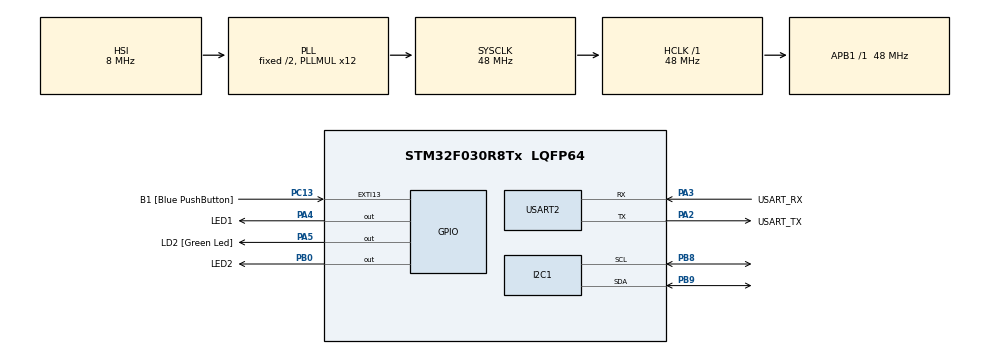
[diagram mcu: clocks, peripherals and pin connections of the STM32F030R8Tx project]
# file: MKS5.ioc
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Dma.Request0=USART2_RX
Dma.USART2_RX.0.Direction=DMA_PERIPH_TO_MEMORY
Dma.USART2_RX.0.Instance=DMA1_Channel5
Dma.USART2_RX.0.MemDataAlignment=DMA_MDATAALIGN_BYTE
Dma.USART2_RX.0.MemInc=DMA_MINC_ENABLE
Dma.USART2_RX.0.Mode=DMA_CIRCULAR
Dma.USART2_RX.0.PeriphDataAlignment=DMA_PDATAALIGN_BYTE
Dma.USART2_RX.0.PeriphInc=DMA_PINC_DISABLE
Dma.USART2_RX.0.Priority=DMA_PRIORITY_LOW
I2C1.Timing=0x00201D2B
Mcu.Family=STM32F0
Mcu.Name=STM32F030R8Tx
Mcu.Package=LQFP64
NVIC.DMA1_Channel4_5_IRQn=true\:0\:0\:false\:false\:true\:false\:true\:true
PA13.GPIO_Label=TMS
PA13.Mode=Serial_Wire
PA13.Signal=SYS_SWDIO
PA14.GPIO_Label=TCK
PA14.Mode=Serial_Wire
PA14.Signal=SYS_SWCLK
PA2.GPIO_Label=USART_TX
PA2.GPIO_Mode=GPIO_MODE_AF_PP
PA2.GPIO_PuPd=GPIO_NOPULL
PA2.GPIO_Speed=GPIO_SPEED_FREQ_LOW
PA2.Mode=Asynchronous
PA2.Signal=USART2_TX
PA3.GPIO_Label=USART_RX
PA3.GPIO_Mode=GPIO_MODE_AF_PP
PA3.GPIO_PuPd=GPIO_NOPULL
PA3.GPIO_Speed=GPIO_SPEED_FREQ_LOW
PA3.Mode=Asynchronous
PA3.Signal=USART2_RX
PA4.GPIO_Label=LED1
PA4.Signal=GPIO_Output
PA5.GPIO_Label=LD2 [Green Led]
PA5.GPIO_Mode=GPIO_MODE_OUTPUT_PP
PA5.GPIO_PuPd=GPIO_NOPULL
PA5.GPIO_Speed=GPIO_SPEED_FREQ_LOW
PA5.Signal=GPIO_Output
PB0.GPIO_Label=LED2
PB0.Signal=GPIO_Output
PB8.Mode=I2C
PB8.Signal=I2C1_SCL
PB9.Mode=I2C
PB9.Signal=I2C1_SDA
PC13.GPIO_Label=B1 [Blue PushButton]
PC13.GPIO_ModeDefaultEXTI=GPIO_MODE_IT_FALLING
PC13.Signal=GPXTI13
PC14-OSC32_IN.Mode=LSE-External-Oscillator
PC14-OSC32_IN.Signal=RCC_OSC32_IN
PC15-OSC32_OUT.Mode=LSE-External-Oscillator
PC15-OSC32_OUT.Signal=RCC_OSC32_OUT
PF0-OSC_IN.Mode=HSE-External-Clock-Source
PF0-OSC_IN.Signal=RCC_OSC_IN
PF1-OSC_OUT.Signal=RCC_OSC_OUT
ProjectManager.HeapSize=0x200
ProjectManager.StackSize=0x400
ProjectManager.TargetToolchain=STM32CubeIDE
RCC.AHBFreq_Value=48000000
RCC.APB1Freq_Value=48000000
RCC.APB1TimFreq_Value=48000000
RCC.HCLKFreq_Value=48000000
RCC.PLLMUL=RCC_PLL_MUL12
RCC.SYSCLKFreq_VALUE=48000000
RCC.SYSCLKSource=RCC_SYSCLKSOURCE_PLLCLK
USART2.VirtualMode-Asynchronous=VM_ASYNC
board=NUCLEO-F030R8

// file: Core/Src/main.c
/* USER CODE BEGIN Header */
/**
  ******************************************************************************
  * @file           : main.c
  * @brief          : Main program body
  ******************************************************************************
  * @attention
  *
  * Copyright (c) 2024 STMicroelectronics.
  * All rights reserved.
  *
  * This software is licensed under terms that can be found in the LICENSE file
  * in the root directory of this software component.
  * If no LICENSE file comes with this software, it is provided AS-IS.
  *
  ******************************************************************************
  */
/* USER CODE END Header */
#include "main.h"

/* USER CODE BEGIN Includes */
#include <stdio.h>
#include <string.h>
#include <stdlib.h>
/* USER CODE END Includes */

I2C_HandleTypeDef hi2c1;

UART_HandleTypeDef huart2;
DMA_HandleTypeDef hdma_usart2_rx;

/* USER CODE BEGIN PV */
#define RX_BUFFER_LEN 64
#define CMD_BUFFER_LEN 128
static uint8_t uart_rx_buf[RX_BUFFER_LEN];
static volatile uint16_t uart_rx_read_ptr = 0;
#define uart_rx_write_ptr (RX_BUFFER_LEN - hdma_usart2_rx.Instance->CNDTR)
#define EEPROM_ADDR 0xA0
/* USER CODE END PV */

void SystemClock_Config(void);
static void MX_GPIO_Init(void);
static void MX_DMA_Init(void);
static void MX_USART2_UART_Init(void);
static void MX_I2C1_Init(void);

/* USER CODE BEGIN 0 */

static void uart_process_command(char *cmd)
{
  // printf("Received command: %s \n", cmd);

  char *token;
  uint16_t addr;
  uint8_t value;
  token = strtok(cmd, " ");

  if (strcasecmp(token, "HELLO") == 0)
  {
    printf("Communication OK\n");
  }
  else if (strcasecmp(token, "LED1") == 0)
  {
    token = strtok(NULL, " ");
    if (strcasecmp(token, "ON") == 0)
    {
      HAL_GPIO_WritePin(LED1_GPIO_Port, LED1_Pin, GPIO_PIN_SET);
    }
    else if (strcasecmp(token, "OFF") == 0)
    {
      HAL_GPIO_WritePin(LED1_GPIO_Port, LED1_Pin, GPIO_PIN_RESET);
    }
    printf("OK\n");
  }
  else if (strcasecmp(token, "LED2") == 0)
  {
    token = strtok(NULL, " ");
    if (strcasecmp(token, "ON") == 0)
    {
      HAL_GPIO_WritePin(LED2_GPIO_Port, LED2_Pin, GPIO_PIN_SET);
    }
    else if (strcasecmp(token, "OFF") == 0)
    {
      HAL_GPIO_WritePin(LED2_GPIO_Port, LED2_Pin, GPIO_PIN_RESET);
    }
    printf("OK\n");
  }
  else if (strcasecmp(token, "STATUS") == 0) // read status of LED1 and LED2
  {
    if (HAL_GPIO_ReadPin(LED1_GPIO_Port, LED1_Pin))
    {
      printf("LED1 ON\n");
    }
    else
      printf("LED1 OFF\n");
    if (HAL_GPIO_ReadPin(LED2_GPIO_Port, LED2_Pin))
    {
      printf("LED2 ON\n");
    }
    else
      printf("LED2 OFF\n");
  }
  else if (strcasecmp(token, "READ") == 0) // read memmory data
  {
    addr = atoi(strtok(NULL, " "));
    HAL_I2C_Mem_Read(&hi2c1, EEPROM_ADDR, addr, I2C_MEMADD_SIZE_16BIT, &value, 1, 1000);
    printf("Address 0x000%x = 0x%x \n", addr, value);
  }
  else if (strcasecmp(token, "WRITE") == 0) // write memmory data
  {
    addr = atoi(strtok(NULL, " "));
    value = atoi(strtok(NULL, " "));
    HAL_I2C_Mem_Write(&hi2c1, EEPROM_ADDR, addr, I2C_MEMADD_SIZE_16BIT, &value, 1, 1000);
    while (HAL_I2C_IsDeviceReady(&hi2c1, EEPROM_ADDR, 300, 1000) != HAL_TIMEOUT)
    {
      if (HAL_I2C_IsDeviceReady(&hi2c1, EEPROM_ADDR, 300, 1000) == HAL_OK)
      {
        break;
      }
    }
    printf("Write done \n");
  }
  else if (strcasecmp(token, "DUMP") == 0) // dump memmory data
  {
    uint8_t dump[16];
    addr = 0;
    HAL_I2C_Mem_Read(&hi2c1, EEPROM_ADDR, addr, I2C_MEMADD_SIZE_16BIT, dump, 16, 1000);
    for (addr = 0; addr < 16; addr++)
    {
      printf("%02x ", dump[addr]);
    }
    printf("\n");
  }
  else if (strcasecmp(token, "CLEAR") == 0) // clear memmory data
  {
    addr = 0;
    value = 0;
    uint8_t buffer[16] = {0};
    HAL_I2C_Mem_Write(&hi2c1, EEPROM_ADDR, addr, I2C_MEMADD_SIZE_16BIT, buffer, sizeof(buffer), 1000);
    while (HAL_I2C_IsDeviceReady(&hi2c1, EEPROM_ADDR, 300, 1000) != HAL_TIMEOUT)
    {
      if (HAL_I2C_IsDeviceReady(&hi2c1, EEPROM_ADDR, 300, 1000) == HAL_OK)
      {
        break;
      }
    }
    // HAL_Delay(5);
    // printf("Clearing address 0x000%x \n", addr);
    printf("Clear done\n");
  }
  else
  {
    printf("Unknown command\n");
  }
}

static void uart_byte_available(uint8_t c)
{
  static uint16_t cnt;
  static char data[CMD_BUFFER_LEN];
  if (cnt < CMD_BUFFER_LEN && c >= 32 && c <= 126) data[cnt++] = c;
  if ((c == '\n' || c == '\r') && cnt > 0) {
  data[cnt] = '\0';
  uart_process_command(data);
  cnt = 0;
  }
}

/* USER CODE END 0 */

int main(void)
{

  /* MCU Configuration--------------------------------------------------------*/

  /* Reset of all peripherals, Initializes the Flash interface and the Systick. */
  HAL_Init();

  /* Configure the system clock */
  SystemClock_Config();

  /* Initialize all configured peripherals */
  MX_GPIO_Init();
  MX_DMA_Init();
  MX_USART2_UART_Init();
  MX_I2C1_Init();
  /* USER CODE BEGIN 2 */

  HAL_UART_Receive_DMA(&huart2, uart_rx_buf, RX_BUFFER_LEN);

  /* USER CODE END 2 */

  /* Infinite loop */
  /* USER CODE BEGIN WHILE */
  while (1)
  {
    /*
    uint8_t c;
    HAL_UART_Receive(&huart2, &c, 1, HAL_MAX_DELAY);
    HAL_UART_Transmit(&huart2, &c, 1, HAL_MAX_DELAY);
    */

    while (uart_rx_read_ptr != uart_rx_write_ptr) {
    uint8_t b = uart_rx_buf[uart_rx_read_ptr];
    // increase read pointer
    if (++uart_rx_read_ptr >= RX_BUFFER_LEN) uart_rx_read_ptr = 0;
      // process every received byte with the RX state machine
      uart_byte_available(b);
    }

    /* USER CODE END WHILE */

  }
}

void SystemClock_Config(void)
{
  RCC_OscInitTypeDef RCC_OscInitStruct = {0};
  RCC_ClkInitTypeDef RCC_ClkInitStruct = {0};
  RCC_PeriphCLKInitTypeDef PeriphClkInit = {0};

  /** Initializes the RCC Oscillators according to the specified parameters
  * in the RCC_OscInitTypeDef structure.
  */
  RCC_OscInitStruct.OscillatorType = RCC_OSCILLATORTYPE_HSI;
  RCC_OscInitStruct.HSIState = RCC_HSI_ON;
  RCC_OscInitStruct.HSICalibrationValue = RCC_HSICALIBRATION_DEFAULT;
  RCC_OscInitStruct.PLL.PLLState = RCC_PLL_ON;
  RCC_OscInitStruct.PLL.PLLSource = RCC_PLLSOURCE_HSI;
  RCC_OscInitStruct.PLL.PLLMUL = RCC_PLL_MUL12;
  RCC_OscInitStruct.PLL.PREDIV = RCC_PREDIV_DIV1;
  if (HAL_RCC_OscConfig(&RCC_OscInitStruct) != HAL_OK)
  {
    Error_Handler();
  }

  /** Initializes the CPU, AHB and APB buses clocks
  */
  RCC_ClkInitStruct.ClockType = RCC_CLOCKTYPE_HCLK|RCC_CLOCKTYPE_SYSCLK
                              |RCC_CLOCKTYPE_PCLK1;
  RCC_ClkInitStruct.SYSCLKSource = RCC_SYSCLKSOURCE_PLLCLK;
  RCC_ClkInitStruct.AHBCLKDivider = RCC_SYSCLK_DIV1;
  RCC_ClkInitStruct.APB1CLKDivider = RCC_HCLK_DIV1;

  if (HAL_RCC_ClockConfig(&RCC_ClkInitStruct, FLASH_LATENCY_1) != HAL_OK)
  {
    Error_Handler();
  }
  PeriphClkInit.PeriphClockSelection = RCC_PERIPHCLK_I2C1;
  PeriphClkInit.I2c1ClockSelection = RCC_I2C1CLKSOURCE_HSI;
  if (HAL_RCCEx_PeriphCLKConfig(&PeriphClkInit) != HAL_OK)
  {
    Error_Handler();
  }
}

static void MX_I2C1_Init(void)
{

  hi2c1.Instance = I2C1;
  hi2c1.Init.Timing = 0x00201D2B;
  hi2c1.Init.OwnAddress1 = 0;
  hi2c1.Init.AddressingMode = I2C_ADDRESSINGMODE_7BIT;
  hi2c1.Init.DualAddressMode = I2C_DUALADDRESS_DISABLE;
  hi2c1.Init.OwnAddress2 = 0;
  hi2c1.Init.OwnAddress2Masks = I2C_OA2_NOMASK;
  hi2c1.Init.GeneralCallMode = I2C_GENERALCALL_DISABLE;
  hi2c1.Init.NoStretchMode = I2C_NOSTRETCH_DISABLE;
  if (HAL_I2C_Init(&hi2c1) != HAL_OK)
  {
    Error_Handler();
  }

  /** Configure Analogue filter
  */
  if (HAL_I2CEx_ConfigAnalogFilter(&hi2c1, I2C_ANALOGFILTER_ENABLE) != HAL_OK)
  {
    Error_Handler();
  }

  /** Configure Digital filter
  */
  if (HAL_I2CEx_ConfigDigitalFilter(&hi2c1, 0) != HAL_OK)
  {
    Error_Handler();
  }

}

static void MX_USART2_UART_Init(void)
{

  huart2.Instance = USART2;
  huart2.Init.BaudRate = 38400;
  huart2.Init.WordLength = UART_WORDLENGTH_8B;
  huart2.Init.StopBits = UART_STOPBITS_1;
  huart2.Init.Parity = UART_PARITY_NONE;
  huart2.Init.Mode = UART_MODE_TX_RX;
  huart2.Init.HwFlowCtl = UART_HWCONTROL_NONE;
  huart2.Init.OverSampling = UART_OVERSAMPLING_16;
  huart2.Init.OneBitSampling = UART_ONE_BIT_SAMPLE_DISABLE;
  huart2.AdvancedInit.AdvFeatureInit = UART_ADVFEATURE_NO_INIT;
  if (HAL_UART_Init(&huart2) != HAL_OK)
  {
    Error_Handler();
  }

}

static void MX_DMA_Init(void)
{

  /* DMA controller clock enable */
  __HAL_RCC_DMA1_CLK_ENABLE();

  /* DMA interrupt init */
  /* DMA1_Channel4_5_IRQn interrupt configuration */
  HAL_NVIC_SetPriority(DMA1_Channel4_5_IRQn, 0, 0);
  HAL_NVIC_EnableIRQ(DMA1_Channel4_5_IRQn);

}

static void MX_GPIO_Init(void)
{
  GPIO_InitTypeDef GPIO_InitStruct = {0};

  /* GPIO Ports Clock Enable */
  __HAL_RCC_GPIOC_CLK_ENABLE();
  __HAL_RCC_GPIOF_CLK_ENABLE();
  __HAL_RCC_GPIOA_CLK_ENABLE();
  __HAL_RCC_GPIOB_CLK_ENABLE();

  /*Configure GPIO pin Output Level */
  HAL_GPIO_WritePin(GPIOA, LED1_Pin|LD2_Pin, GPIO_PIN_RESET);

  /*Configure GPIO pin Output Level */
  HAL_GPIO_WritePin(LED2_GPIO_Port, LED2_Pin, GPIO_PIN_RESET);

  /*Configure GPIO pin : B1_Pin */
  GPIO_InitStruct.Pin = B1_Pin;
  GPIO_InitStruct.Mode = GPIO_MODE_IT_FALLING;
  GPIO_InitStruct.Pull = GPIO_NOPULL;
  HAL_GPIO_Init(B1_GPIO_Port, &GPIO_InitStruct);

  /*Configure GPIO pins : LED1_Pin LD2_Pin */
  GPIO_InitStruct.Pin = LED1_Pin|LD2_Pin;
  GPIO_InitStruct.Mode = GPIO_MODE_OUTPUT_PP;
  GPIO_InitStruct.Pull = GPIO_NOPULL;
  GPIO_InitStruct.Speed = GPIO_SPEED_FREQ_LOW;
  HAL_GPIO_Init(GPIOA, &GPIO_InitStruct);

  /*Configure GPIO pin : LED2_Pin */
  GPIO_InitStruct.Pin = LED2_Pin;
  GPIO_InitStruct.Mode = GPIO_MODE_OUTPUT_PP;
  GPIO_InitStruct.Pull = GPIO_NOPULL;
  GPIO_InitStruct.Speed = GPIO_SPEED_FREQ_LOW;
  HAL_GPIO_Init(LED2_GPIO_Port, &GPIO_InitStruct);

}

/* USER CODE BEGIN 4 */

int _write(int file, char const *buf, int n)
{
 /* stdout redirection to UART2 */
 HAL_UART_Transmit(&huart2, (uint8_t*)(buf), n, HAL_MAX_DELAY);
 return n;

}
/* USER CODE END 4 */

void Error_Handler(void)
{
  __disable_irq();
  while (1)
  {
  }
}
